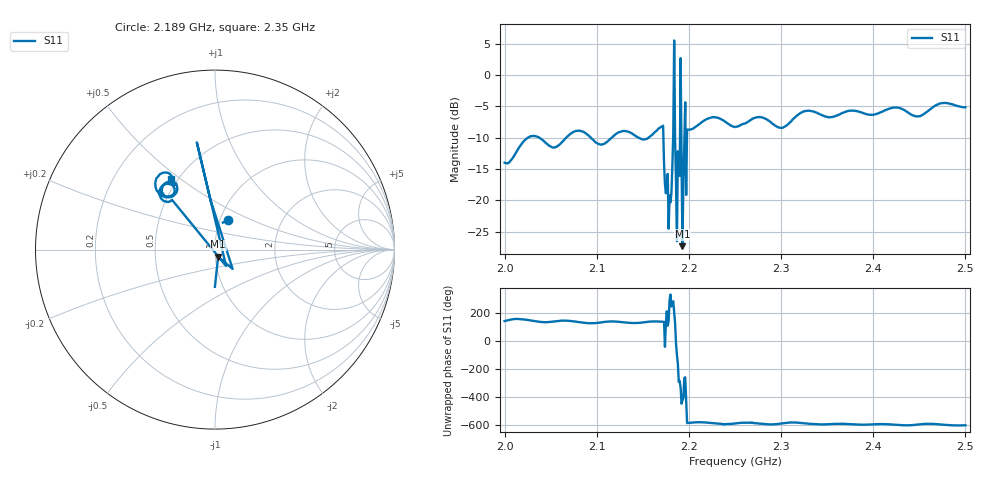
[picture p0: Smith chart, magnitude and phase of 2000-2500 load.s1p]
! NanoVNA-App by SYSJOINT et al v1.1.209 (+OD18)
! Date: 2025-09-17 10:32:18
! Start: 2GHz Stop: 2.5GHz Points: 501
! S-Parameter data: F S11
# Hz S RI R 50
!  Frequency  S11_Real  S11_Imag
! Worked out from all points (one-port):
!   501 points, 2 GHz to 2.5 GHz, reference 50 ohm
!   lowest |S11| = -27.3 dB at 2.193 GHz (marker M1), VSWR 1.09, Z = 51.6 - j4.07 ohm
!   |S11| at or under -10 dB: start of sweep to 2.025 GHz; 2.038 GHz to 2.067 GHz (28.99 MHz wide, 1.41 % of centre); 2.094 GHz to 2.116 GHz (22.67 MHz wide, 1.08 % of centre) (the widest 3 of 8)
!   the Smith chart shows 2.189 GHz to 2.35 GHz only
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2e9  -0.1618 0.1171
2.027e9  -0.2775 0.1624
2.063e9  -0.2482 0.1605
2.125e9  -0.2607 0.2355
2.17e9  -0.2945 0.2511
2.176e9  -0.1083 -0.0745
2.18e9  0.0871 -0.0413
2.181e9  -0.0414 -0.1065
2.182e9  0.0147 -0.1846
2.183e9  0.0973 -0.3269
2.186e9  0.1299 -0.046
2.187e9  -0.00798 -0.0466
2.188e9  -0.2361 -0.0706
2.189e9  0.0724 0.1647
2.19e9  0.044 0.1506
2.191e9  1.252 0.5418
2.193e9  0.0175 -0.0394
2.194e9  0.0982 -0.1081
2.195e9  -0.0258 0.2798
2.197e9  0.0617 -0.0915
2.2e9  -0.2455 0.2724
2.226e9  -0.297 0.3517
2.25e9  -0.2357 0.3051
2.313e9  -0.3144 0.3155
2.375e9  -0.2806 0.4371
2.438e9  -0.2074 0.4568
2.466e9  -0.3149 0.4663
2.5e9  -0.2301 0.5032
